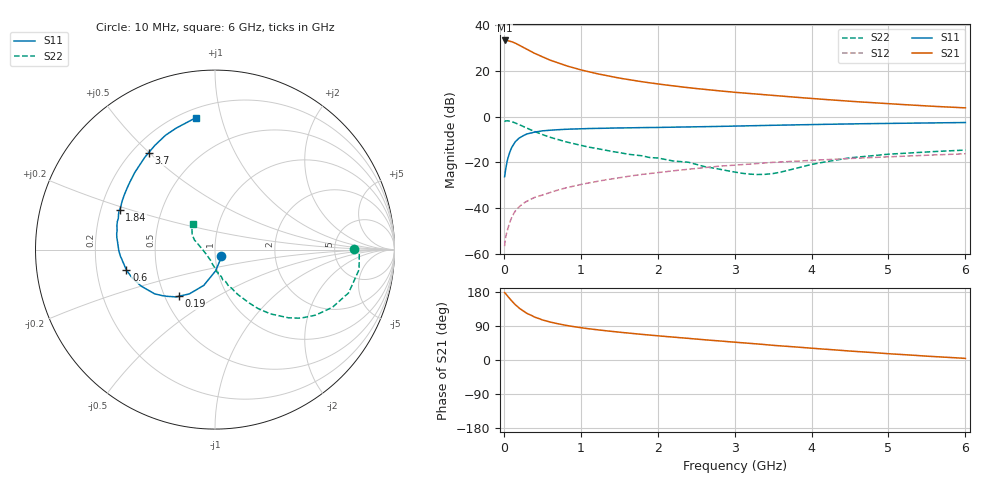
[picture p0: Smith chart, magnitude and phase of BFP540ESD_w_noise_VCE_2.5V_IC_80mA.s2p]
! Infineon Technologies  Discrete & RF Semiconductors
! BFP540ESD
! VCE =  2.5 V,  IC =  80 mA
! Common Emitter S-Parameters:  Nov 2015
# GHz  S  MA  R  50
!  f  S11  S21  S12  S22
! GHz  MAG  ANG  MAG  ANG  MAG  ANG  MAG  ANG
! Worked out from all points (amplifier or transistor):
!   210 points, 10 MHz to 6 GHz, reference 50 ohm
!   highest |S21| = 33.2 dB at 10 MHz (marker M1)
!   |S21| within 3 dB of that: start of sweep to 252.4 MHz
!   unconditionally stable (mu >= 1): start of sweep to 53.98 MHz; 868.1 MHz to end of sweep
!   at 185 MHz: K = 0.60, MSG = 35.6 dB, |S12| = -39.8 dB
!   at 1.52 GHz: K = 1.14, MAG = 19.4 dB, |S12| = -26.6 dB
!   at 6 GHz: K = 1.15, MAG = 7.6 dB, |S12| = -16.2 dB
!   lowest NFmin = 2.38 dB at 900 MHz
!   S11 on the Smith chart (normalised r, x): 10 MHz: 1.07, -0.07; 190 MHz: 0.59, -0.34; 600 MHz: 0.33, -0.10; 1.84 GHz: 0.28, +0.19; 3.7 GHz: 0.26, +0.50; 6 GHz: 0.25, +0.83
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0.01  0.049 -44.9  45.59 178.0  0.0015 116.5  0.7746 0.4
0.02  0.0656 -63.9  45.35 175.9  0.0022 104.2  0.804 -1.1
0.05  0.1196 -88.8  45.31 168.2  0.0035 90.2  0.8104 -7.9
0.1  0.2089 -107.4  43.1 156.2  0.0062 76.9  0.7822 -18.0
0.15  0.2848 -120.0  39.78 145.7  0.0088 71.7  0.7288 -26.2
0.19  0.3292 -127.8  36.73 138.7  0.0104 70.1  0.6791 -31.7
0.2  0.3411 -129.4  36.06 136.8  0.0108 69.8  0.6677 -33.2
0.24  0.3738 -135.9  33.12 130.9  0.0123 66.8  0.6223 -37.5
0.3  0.4177 -143.9  29.21 123.0  0.0143 63.8  0.5582 -42.9
0.4  0.4594 -153.8  23.89 113.2  0.0173 62.9  0.472 -49.3
0.5  0.4885 -161.4  20.02 105.8  0.0195 62.8  0.4049 -54.0
0.6  0.5066 -167.0  17.02 100.2  0.0222 63.8  0.3543 -57.3
0.8  0.5286 -176.1  12.99 91.6  0.0278 64.4  0.2832 -62.8
1.02  0.5424 176.5  10.24 84.8  0.0338 64.2  0.2315 -67.1
1.4  0.562 166.6  7.431 75.5  0.0437 63.7  0.1742 -75.6
1.84  0.5762 157.2  5.612 66.8  0.0561 61.3  0.1347 -82.5
2.02  0.5814 153.5  5.09 63.5  0.0607 59.6  0.1235 -85.7
3.1  0.6245 134.1  3.279 45.5  0.0899 50.6  0.0581 -124.3
3.7  0.6546 124.3  2.714 35.9  0.1047 44.9  0.0677 -178.5
4.1  0.6743 118.6  2.412 29.6  0.1133 41.2  0.0975 162.7
5.1  0.7133 106.6  1.866 15.4  0.1349 31.9  0.155 145.2
6  0.7422 98.2  1.549 4.2  0.1549 24.6  0.1861 130.5
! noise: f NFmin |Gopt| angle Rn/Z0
0.9  2.38  0.59  -140  0.21
1.8  2.6  0.62  -141  0.22
2.4  2.71  0.63  -130  0.32
3  2.93  0.66  -121  0.48
4  3.08  0.73  -101  0.98
5  3.38  0.79  -86  1.55
6  4.1  0.72  -81  2.55
